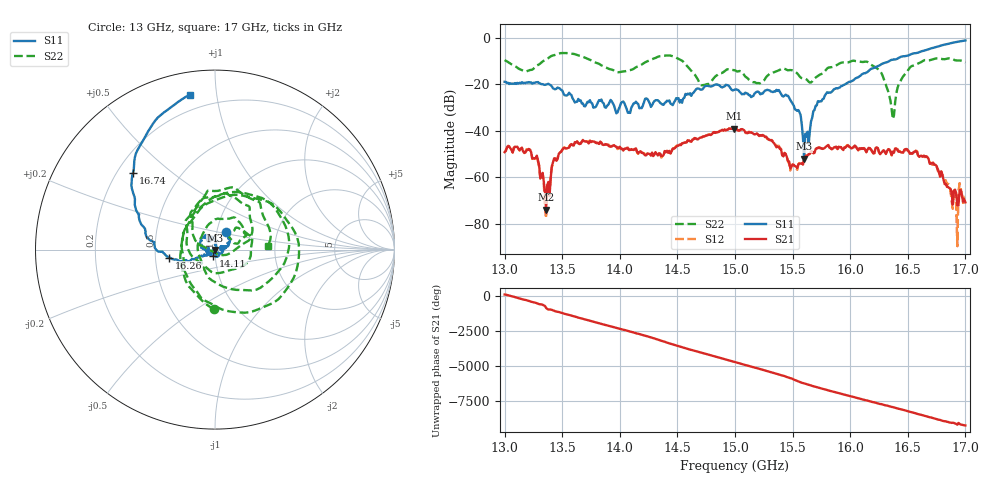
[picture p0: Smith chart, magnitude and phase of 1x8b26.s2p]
!Keysight Technologies,P9374A,MY57211807,A.19.30.04
!Date: Friday, May 08, 2026 14:26:17
!Correction: S11(C  2-Port  )
!S21(C  2-Port  )
!S12(C  2-Port  )
!S22(C  2-Port  )
!S2P File: Measurements: S11, S21, S12, S22:
# Hz S  dB  R 50
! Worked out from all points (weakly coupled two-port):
!   401 points, 13 GHz to 17 GHz, reference 50 ohm
!   highest |S21| = -39.14 dB at 14.99 GHz (marker M1); lowest = -74.0 dB at 13.36 GHz (marker M2)
!   lowest |S11| = -52.1 dB at 15.6 GHz (marker M3), VSWR 1.00, Z = 50.1 - j0.242 ohm
!   |S11| at or under -10 dB: start of sweep to 16.34 GHz
!   |S22| runs from -35.0 to -6.6 dB; largest |S21 - S12| = 0.00062
!   S11 on the Smith chart (normalised r, x): 13 GHz: 1.11, +0.21; 14.11 GHz: 0.98, -0.07; 16.26 GHz: 0.59, -0.06; 16.74 GHz: 0.26, +0.37; 17 GHz: 0.12, +0.84
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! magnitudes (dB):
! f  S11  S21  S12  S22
! 13 GHz  -19.0  -49.2  -48.7  -9.6
! 13.21 GHz  -19.1  -47.9  -47.9  -14.0
! 13.36 GHz  -20.1  -74.0  -77.7  -9.4
! 13.49 GHz  -22.4  -49.1  -49.1  -6.6
! 13.67 GHz  -28.3  -44.7  -44.8  -8.0
! 14.11 GHz  -29.3  -48.2  -48.4  -13.6
! 14.34 GHz  -27.4  -49.7  -50.1  -8.0
! 14.72 GHz  -22.1  -42.6  -42.6  -20.4
! 14.99 GHz  -22.5  -39.1  -38.9  -13.9
! 15 GHz  -22.3  -39.2  -39.1  -14.0
! 15.2 GHz  -23.2  -41.7  -41.7  -19.5
! 15.45 GHz  -25.0  -51.3  -51.2  -13.8
! 15.6 GHz  -52.1  -52.6  -52.7  -17.6
! 15.67 GHz  -34.5  -49.0  -49.1  -18.8
! 16.02 GHz  -18.5  -47.5  -47.5  -9.9
! 16.26 GHz  -11.8  -50.1  -50.1  -14.3
! 16.34 GHz  -10.0  -48.1  -48.6  -25.1
! 16.37 GHz  -9.5  -49.1  -49.2  -35.0
! 16.51 GHz  -7.5  -49.0  -49.1  -13.4
! 16.74 GHz  -4.1  -54.7  -54.6  -9.0
! 16.91 GHz  -1.9  -65.4  -66.5  -9.7
! 17 GHz  -1.2  -70.9  -68.6  -10.6
